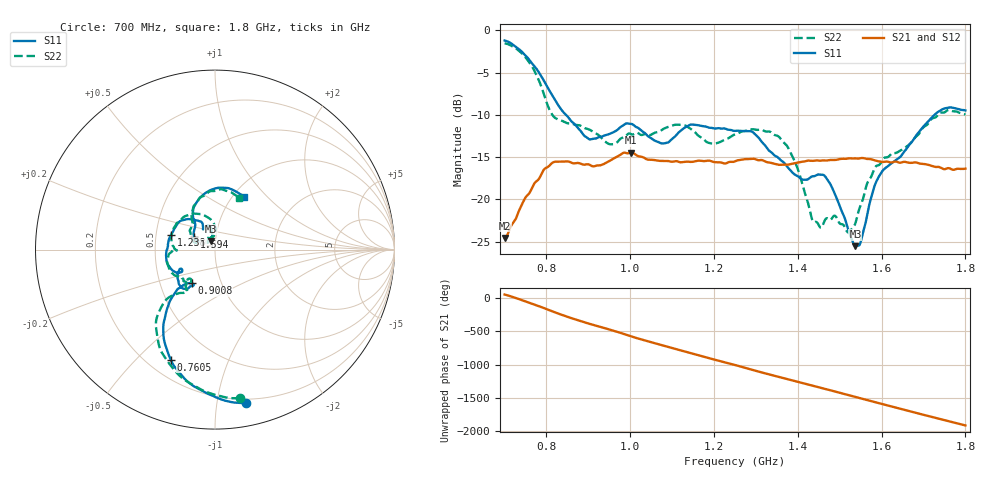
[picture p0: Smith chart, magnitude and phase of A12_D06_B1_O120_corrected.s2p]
! Created with skrf 1.9.0 (http://scikit-rf.org).
# Hz S RI R 50.0
!freq ReS11 ImS11 ReS21 ImS21 ReS12 ImS12 ReS22 ImS22
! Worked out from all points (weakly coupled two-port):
!   1601 points, 700 MHz to 1.8 GHz, reference 50 ohm
!   highest |S21| = -14.46 dB at 1.002 GHz (marker M1); lowest = -24.6 dB at 700 MHz (marker M2)
!   lowest |S11| = -25.5 dB at 1.537 GHz (marker M3), VSWR 1.11, Z = 47.6 + j4.56 ohm
!   |S11| at or under -10 dB: 846.8 MHz to 1.726 GHz (879.3 MHz wide, 68.3 % of centre)
!   |S22| runs from -23.9 to -1.5 dB; largest |S21 - S12| = 0.0034
!   S11 on the Smith chart (normalised r, x): 700 MHz: 0.17, -1.21; 760.5 MHz: 0.29, -0.64; 900.8 MHz: 0.72, -0.29; 1.238 GHz: 0.60, +0.11; 1.594 GHz: 0.78, +0.12; 1.8 GHz: 1.12, +0.75
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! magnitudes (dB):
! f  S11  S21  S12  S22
! 700 MHz  -1.2  -24.6  -24.3  -1.5
! 760.5 MHz  -3.6  -19.1  -19.0  -3.9
! 816.2 MHz  -7.9  -15.6  -15.7  -10.1
! 883.6 MHz  -12.0  -15.8  -15.7  -11.3
! 900.8 MHz  -12.8  -15.9  -15.9  -11.7
! 953 MHz  -12.2  -15.4  -15.4  -13.5
! 1.002 GHz  -11.1  -14.5  -14.6  -12.3
! 1.067 GHz  -13.2  -15.4  -15.4  -12.0
! 1.145 GHz  -11.1  -15.6  -15.6  -11.7
! 1.192 GHz  -11.5  -15.4  -15.5  -13.4
! 1.238 GHz  -11.8  -15.6  -15.7  -12.7
! 1.25 GHz  -11.9  -15.5  -15.4  -12.3
! 1.357 GHz  -15.3  -15.9  -15.8  -12.7
! 1.396 GHz  -17.1  -15.7  -15.7  -15.9
! 1.434 GHz  -17.3  -15.4  -15.4  -22.3
! 1.473 GHz  -17.9  -15.4  -15.4  -22.3
! 1.537 GHz  -25.5  -15.1  -15.1  -22.8
! 1.55 GHz  -25.0  -15.1  -15.1  -20.6
! 1.594 GHz  -17.3  -15.5  -15.5  -15.9
! 1.617 GHz  -16.0  -15.6  -15.5  -14.9
! 1.735 GHz  -9.6  -16.2  -16.2  -10.0
! 1.8 GHz  -9.5  -16.4  -16.3  -10.0
